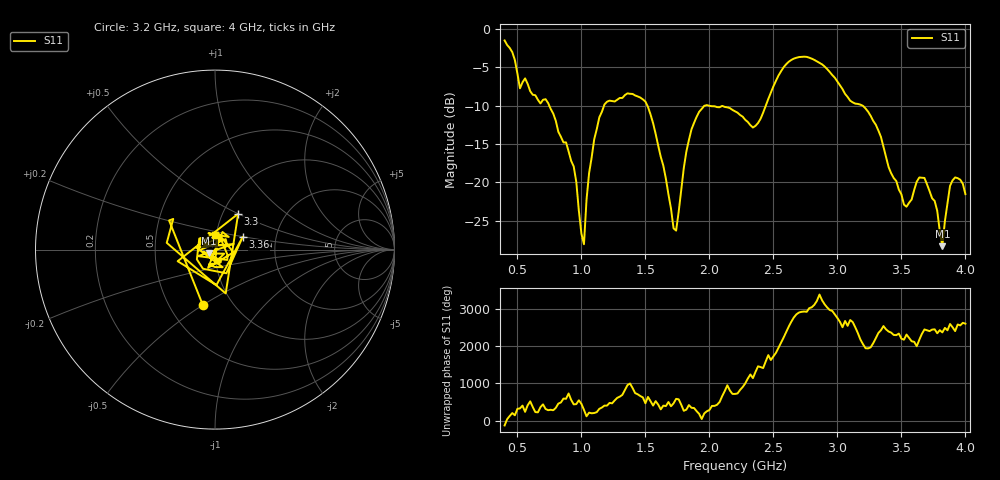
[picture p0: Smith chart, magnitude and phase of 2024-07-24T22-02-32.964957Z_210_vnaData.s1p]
!Created with skrf (http://scikit-rf.org).
# Hz S RI R 50.0
!freq ReS11 ImS11
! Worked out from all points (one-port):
!   181 points, 400 MHz to 4 GHz, reference 50 ohm
!   lowest |S11| = -28.3 dB at 3.82 GHz (marker M1), VSWR 1.08, Z = 46.8 - j1.98 ohm
!   |S11| at or under -10 dB: 1.515 GHz to 1.964 GHz (448.8 MHz wide, 25.8 % of centre); 1.995 GHz to 2.44 GHz (445.8 MHz wide, 20.1 % of centre); 3.196 GHz to end of sweep (the widest 3 of 4)
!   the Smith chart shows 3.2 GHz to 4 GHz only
!   S11 on the Smith chart (normalised r, x): 3.2 GHz: 0.73, -0.50; 3.3 GHz: 1.18, +0.50; 3.36 GHz: 1.35, +0.20; 4 GHz: 0.99, +0.17
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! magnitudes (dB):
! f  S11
! 400 MHz  -1.5
! 520 MHz  -7.7
! 720 MHz  -9.2
! 860 MHz  -14.8
! 940 MHz  -17.9
! 1.02 GHz  -28.0
! 1.06 GHz  -18.8
! 1.14 GHz  -11.5
! 1.3 GHz  -9.0
! 1.5 GHz  -9.5
! 1.64 GHz  -17.8
! 1.72 GHz  -26.0
! 1.76 GHz  -23.8
! 1.82 GHz  -16.0
! 1.92 GHz  -10.8
! 2.2 GHz  -10.7
! 2.36 GHz  -12.6
! 2.66 GHz  -3.9
! 3.1 GHz  -9.4
! 3.2 GHz  -10.0
! 3.3 GHz  -12.5
! 3.36 GHz  -15.4
! 3.56 GHz  -22.6
! 3.68 GHz  -19.4
! 3.76 GHz  -22.4
! 3.82 GHz  -28.3
! 3.88 GHz  -20.4
! 4 GHz  -21.5
